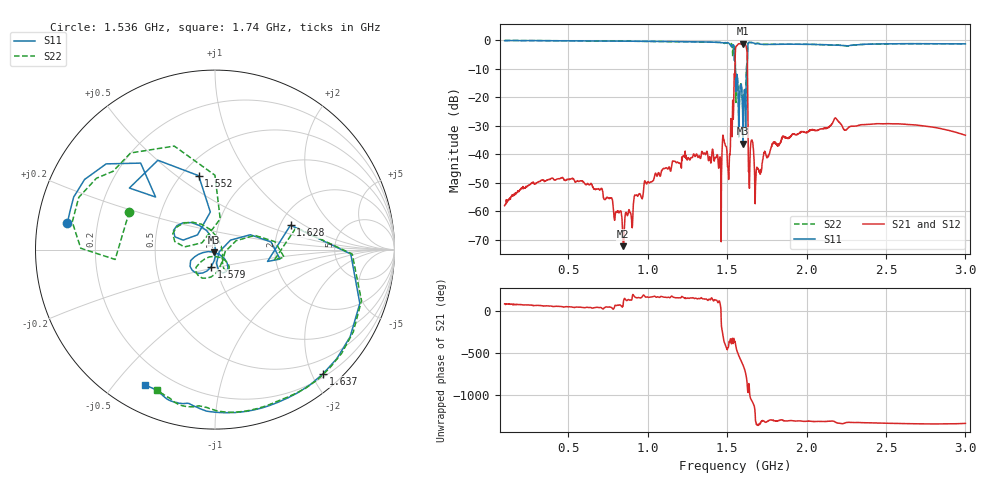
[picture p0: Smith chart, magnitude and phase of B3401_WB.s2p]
! Matrix data file written by TouchstoneData, EPCOS AG
! FILENAME: "B3401_WB.s2p"
! COMMENT: "NWA-Port1 : 82.0ps NWA-Port2 : 82.0ps PCB209"
! INFO: nport=2, nfreq=1601
! DATE: "Wed Jan 8 2014"
! USER: "Hiroshi Tanaka"
! port | pin | signal
!  1  |  1  |  in
!  2  |  3  |  out
# MHZ S MA R 50
! freq  magS11 angS11  magS21 angS21  magS12 angS12  magS22 angS22
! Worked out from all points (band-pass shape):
!   1601 points, 100 MHz to 3 GHz, reference 50 ohm
!   highest |S21| = -1.15 dB at 1.601 GHz (marker M1); lowest = -72.2 dB at 846.8 MHz (marker M2)
!   |S21| within 3 dB of the highest: 1.552 GHz to 1.626 GHz (73.24 MHz wide, 4.61 % of centre)
!   lowest |S11| = -36.2 dB at 1.601 GHz (marker M3), VSWR 1.03, Z = 49.5 - j1.47 ohm
!   |S11| at or under -10 dB: 1.553 GHz to 1.623 GHz (69.97 MHz wide, 4.41 % of centre); 1.625644 GHz to 1.626372 GHz (728 kHz wide, 0.0448 % of centre)
!   |S22| runs from -28.4 to 0.0 dB; largest |S21 - S12| = 0.0051
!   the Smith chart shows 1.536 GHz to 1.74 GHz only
!   S11 on the Smith chart (normalised r, x): 1.536 GHz: 0.09, +0.09; 1.552 GHz: 0.60, +0.61; 1.579 GHz: 0.94, -0.18; 1.628 GHz: 2.27, +0.77; 1.637 GHz: 0.25, -2.17; 1.74 GHz: 0.11, -0.61
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100  0.9876 -10.3  0.001265 79.2  0.001262 79.5  0.9957 -9.8
583.9375  0.9787 -58.2  0.003453 38.0  0.003435 38.1  0.9808 -54.5
846.75  0.9644 -81.5  0.0002467 79.9  0.0002419 81.1  0.9665 -76.9
1067.875  0.9527 -99.8  0.004771 158.9  0.004752 158.9  0.9559 -94.9
1354.25  0.9386 -127.0  0.01042 138.8  0.01038 139.0  0.9388 -121.9
1453.938  0.9222 -144.2  0.008876 99.6  0.008845 99.8  0.9216 -139.1
1482.938  0.9027 -151.8  0.01635 -16.4  0.01632 -16.0  0.8883 -147.8
1515.562  0.8633 -171.6  0.01007 -12.8  0.01006 -12.5  0.9049 -166.4
1535.5  0.8357 169.7  0.08946 8.8  0.08916 9.1  0.5218 156.3
1550  0.5908 122.6  0.3767 -3.3  0.3756 -3.1  0.6198 111.5
1551.812  0.4218 102.5  0.575 -22.0  0.5732 -21.8  0.4145 90.1
1566.312  0.1997 131.1  0.8356 -136.0  0.8327 -135.8  0.1981 129.5
1579  0.09815 -102.7  0.8748 165.0  0.8714 165.2  0.1088 -77.9
1600.75  0.01546 -106.9  0.8758 75.2  0.8719 75.4  0.03786 -94.7
1615.25  0.07693 -83.6  0.8427 -7.1  0.8392 -6.8  0.07991 -59.1
1627.938  0.4423 18.0  0.4161 174.6  0.4146 174.9  0.4684 15.2
1637  0.917 -48.9  0.005413 -141.9  0.005389 -141.4  0.9188 -46.2
1685.938  0.8775 -102.4  0.005597 100.0  0.005582 100.2  0.884 -97.7
1740.312  0.8494 -117.2  0.01097 124.8  0.01092 125.0  0.8459 -112.6
2033.938  0.8529 -143.1  0.02702 132.1  0.02689 132.2  0.8519 -139.3
2517.875  0.8713 -165.9  0.0346 109.7  0.03447 109.8  0.8701 -163.3
3000  0.8686 168.5  0.02169 108.5  0.02161 108.8  0.868 170.5
